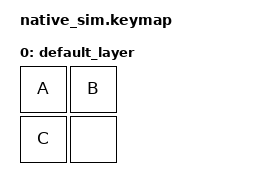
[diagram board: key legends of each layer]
#include <dt-bindings/zmk/keys.h>
#include <behaviors.dtsi>
#include <dt-bindings/zmk/input_matrix_mock.h>

/*
    combo 01 timeout 50
    combo 012 timeout 100
    AB is pressed within 50ms, C is never pressed.
    expected outcome: AB after 100ms
*/
/ {
    combos {
        compatible = "zmk,combos";
        combo_two {
            timeout-ms = <50>;
            key-positions = <0 1>;
            bindings = <&kp Y>;
        };

        combo_three {
            timeout-ms = <100>;
            key-positions = <0 1 2>;
            bindings = <&kp X>;
        };
    };

    keymap {
        compatible = "zmk,keymap";

        default_layer {
            bindings = <
                &kp A &kp B
                &kp C &none
            >;
        };
    };
};

&matrix {
    events = <
        /* if you're debugging these, remember that the timer can be triggered between
          events while stepping through code. */
        /* all permutations of combo two press and release, combo triggered by timeout */
        ZMK_MOCK_PRESS(0,0,10)
        ZMK_MOCK_PRESS(0,1,100)
        ZMK_MOCK_RELEASE(0,0,10)
        ZMK_MOCK_RELEASE(0,1,10)

        ZMK_MOCK_PRESS(0,1,10)
        ZMK_MOCK_PRESS(0,0,100)
        ZMK_MOCK_RELEASE(0,1,10)
        ZMK_MOCK_RELEASE(0,0,10)

        ZMK_MOCK_PRESS(0,1,10)
        ZMK_MOCK_PRESS(0,0,100)
        ZMK_MOCK_RELEASE(0,0,10)
        ZMK_MOCK_RELEASE(0,1,10)

        ZMK_MOCK_PRESS(0,0,10)
        ZMK_MOCK_PRESS(0,1,100)
        ZMK_MOCK_RELEASE(0,1,10)
        ZMK_MOCK_RELEASE(0,0,10)
    >;
};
